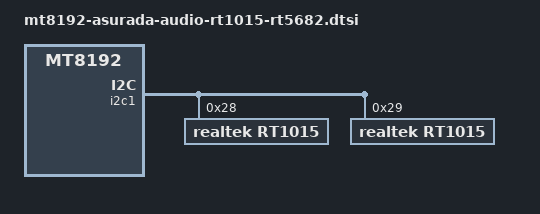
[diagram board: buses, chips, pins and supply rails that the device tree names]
// SPDX-License-Identifier: (GPL-2.0 OR MIT)
/*
 * Copyright 2020 Google LLC
 */

&i2c1 {
	rt1015@28 {
		compatible = "realtek,rt1015";
		reg = <0x28>;
	};

	rt1015@29 {
		compatible = "realtek,rt1015";
		reg = <0x29>;
	};
};

&sound {
	compatible = "mediatek,mt8192_mt6359_rt1015_rt5682";
};
